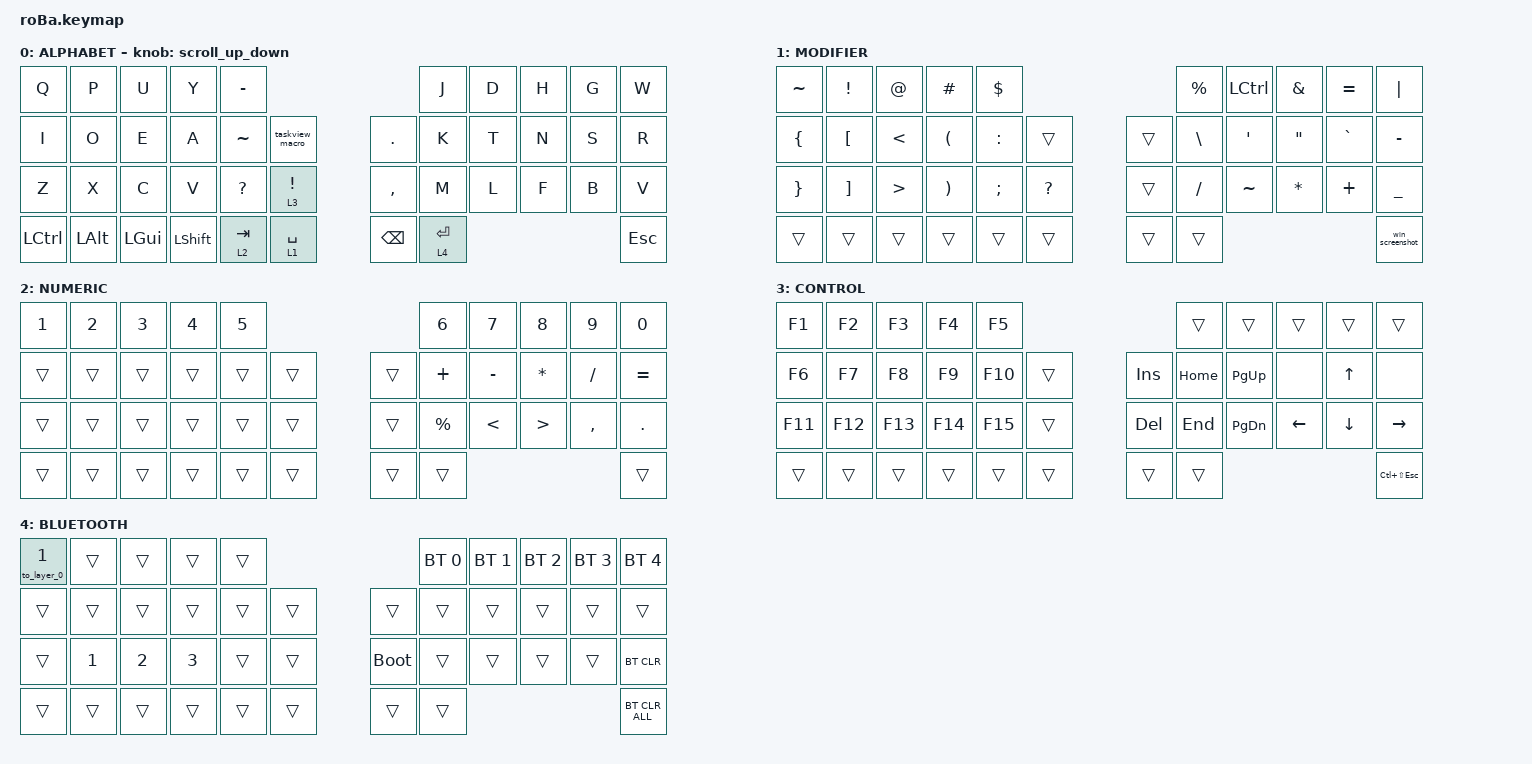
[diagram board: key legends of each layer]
#include <behaviors.dtsi>
#include <dt-bindings/zmk/bt.h>
#include <dt-bindings/zmk/keys.h>
#include <dt-bindings/zmk/pointing.h>

#define MOUSE 4
#define SCROLL 3
#define NUM 6
#define ZMK_POINTING_DEFAULT_SCRL_VAL 100

&mt {
    flavor = "balanced";
    quick-tap-ms = <0>;
};

/ {
    combos {
        compatible = "zmk,combos";

        tab {
            bindings = <&kp TAB>;
            key-positions = <0 1>;
        };

        vscode_reindent {
            bindings = <&kp LS(LA(F))>;
            key-positions = <11 10>;
        };

        double_quotation {
            bindings = <&kp ESC>;
            key-positions = <0 10>;
        };

        caps_lock {
            bindings = <&kp CAPS>;
            key-positions = <3 4>;
        };

        delete {
            bindings = <&kp DELETE>;
            key-positions = <9 8>;
        };

        left_click {
            bindings = <&mkp MB1>;
            key-positions = <11 12>;
        };

        right_click {
            bindings = <&mkp MB2>;
            key-positions = <13 12>;
        };

        arrow_up {
            bindings = <&kp UP_ARROW>;
            key-positions = <7 8>;
        };

        arrow_down {
            bindings = <&kp DOWN_ARROW>;
            key-positions = <31 32>;
        };

        arrow_left {
            bindings = <&kp LEFT_ARROW>;
            key-positions = <18 19>;
        };

        arrow_right {
            bindings = <&kp RIGHT_ARROW>;
            key-positions = <21 20>;
        };
    };

    macros {
        to_layer_0: to_layer_0 {
            compatible = "zmk,behavior-macro-one-param";
            #binding-cells = <1>;
            bindings = <&to 0 &macro_param_1to1 &kp MACRO_PLACEHOLDER>;
            label = "TO_LAYER_0";
        };
    };

    behaviors {
        lt_to_layer_0: lt_to_layer_0 {
            compatible = "zmk,behavior-hold-tap";
            label = "LAYER_TAP_TO_0";
            bindings = <&mo>, <&to_layer_0>;

            #binding-cells = <2>;
            tapping-term-ms = <200>;
        };

        taskview_macro: taskview_macro {
            compatible = "zmk,behavior-macro";
            label = "Taskview";
            #binding-cells = <0>;
            bindings =
                <&macro_press>,
                <&kp LGUI>,
                <&macro_tap>,
                <&kp TAB>,
                <&macro_release>,
                <&kp LGUI>;
        };

        win_screenshot: win_screenshot {
            compatible = "zmk,behavior-macro";
            #binding-cells = <0>;
            bindings = <&kp LGUI &kp LEFT_SHIFT &kp S>;
            label = "WIN_SCREENSHOT";
        };

        date_format: date_format {
            compatible = "zmk,behavior-macro";
            #binding-cells = <0>;
            bindings = <&none &kp LS(Y) &kp LS(Y) &kp LS(Y) &kp LS(Y) &kp MINUS &kp LS(M) &kp LS(M) &kp MINUS &kp LS(D) &kp LS(D) &kp SPACE &kp LS(H) &kp LS(H) &kp COLON &kp M &kp M &kp COLON &kp S &kp S>;
            label = "DATE_FORMAT";
        };

        scroll_up_down: scroll_up_down {
            compatible = "zmk,behavior-sensor-rotate";
            #sensor-binding-cells = <0>;
            bindings = <&msc SCRL_UP>, <&msc SCRL_DOWN>;

            tap-ms = <20>;
        };
    };

    keymap {
        compatible = "zmk,keymap";

        ALPHABET {
            bindings = <
&kp Q             &kp P         &kp U         &kp Y           &kp MINUS                                                &kp J        &kp D  &kp H  &kp G  &kp W
&kp I             &kp O         &kp E         &kp A           &kp TILDE     &taskview_macro             &kp DOT        &kp K        &kp T  &kp N  &kp S  &kp R
&kp Z             &kp X         &kp C         &kp V           &kp QUESTION  &lt 3 EXCLAMATION           &kp COMMA      &kp M        &kp L  &kp F  &kp B  &kp V
&kp LEFT_CONTROL  &kp LEFT_ALT  &kp LEFT_GUI  &kp LEFT_SHIFT  &lt 2 TAB     &lt_to_layer_0 1 SPACE      &kp BACKSPACE  &lt 4 ENTER                       &kp ESCAPE
            >;

            sensor-bindings = <&scroll_up_down>;
        };

        MODIFIER {
            bindings = <
&kp TILDE        &kp EXCLAMATION    &kp AT_SIGN       &kp HASH               &kp DOLLAR                               &kp PERCENT    &kp LCTRL  &kp AMPERSAND      &kp EQUAL  &kp PIPE
&kp LEFT_BRACE   &kp LEFT_BRACKET   &kp LESS_THAN     &kp LEFT_PARENTHESIS   &kp COLON      &trans            &trans  &kp BACKSLASH  &kp SQT    &kp DOUBLE_QUOTES  &kp GRAVE  &kp MINUS
&kp RIGHT_BRACE  &kp RIGHT_BRACKET  &kp GREATER_THAN  &kp RIGHT_PARENTHESIS  &kp SEMICOLON  &kp QUESTION      &trans  &kp SLASH      &kp TILDE  &kp ASTRK          &kp PLUS   &kp UNDERSCORE
&trans           &trans             &trans            &trans                 &trans         &trans            &trans  &trans                                                  &win_screenshot
            >;
        };

        NUMERIC {
            bindings = <
&kp NUMBER_1  &kp NUMBER_2  &kp NUMBER_3  &kp NUMBER_4  &kp N5                      &kp NUMBER_6  &kp N7     &kp N8        &kp N9     &kp N0
&trans        &trans        &trans        &trans        &trans  &trans      &trans  &kp PLUS      &kp MINUS  &kp ASTERISK  &kp SLASH  &kp EQUAL
&trans        &trans        &trans        &trans        &trans  &trans      &trans  &kp PERCENT   &kp LT     &kp GT        &kp COMMA  &kp PERIOD
&trans        &trans        &trans        &trans        &trans  &trans      &trans  &trans                                            &trans
            >;
        };

        CONTROL {
            bindings = <
&kp F1   &kp F2   &kp F3   &kp F4   &kp F5                        &trans    &trans         &trans    &trans        &trans
&kp F6   &kp F7   &kp F8   &kp F9   &kp F10  &trans      &kp INS  &kp HOME  &kp PAGE_UP    &none     &kp UP_ARROW  &none
&kp F11  &kp F12  &kp F13  &kp F14  &kp F15  &trans      &kp DEL  &kp END   &kp PAGE_DOWN  &kp LEFT  &kp DOWN      &kp RIGHT
&trans   &trans   &trans   &trans   &trans   &trans      &trans   &trans                                           &kp LC(LS(ESCAPE))
            >;
        };

        BLUETOOTH {
            bindings = <
&to_layer_0 NUMBER_1  &trans        &trans        &trans        &trans                           &bt BT_SEL 0  &bt BT_SEL 1  &bt BT_SEL 2  &bt BT_SEL 3  &bt BT_SEL 4
&trans                &trans        &trans        &trans        &trans  &trans      &trans       &trans        &trans        &trans        &trans        &trans
&trans                &kp NUMBER_1  &kp NUMBER_2  &kp NUMBER_3  &trans  &trans      &bootloader  &trans        &trans        &trans        &trans        &bt BT_CLR
&trans                &trans        &trans        &trans        &trans  &trans      &trans       &trans                                                  &bt BT_CLR_ALL
            >;
        };
    };
};
